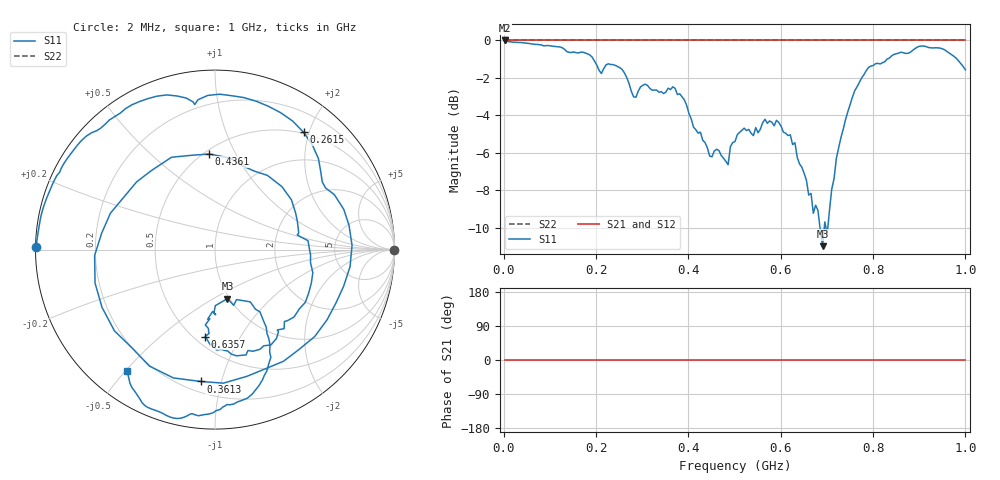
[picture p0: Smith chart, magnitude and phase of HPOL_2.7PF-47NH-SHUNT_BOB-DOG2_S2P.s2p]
!Agilent N9923A: A.07.32
!Date: Friday, 21 February 2020 06:23:23
!Model: N9923A
!Serial: MY52412229
!GPS Latitude:
!GPS Longitude:
!GPS TimeStamp: 0001-01-01 00:00:00Z
!GPS Seconds Since Last Read: 0
!CHECKSUM:1777628573
!Correction: S11(ON U)S21()S12()S22()
!S2P File: Measurements:S11,S21,S12,S22:
# Hz S DB R 50
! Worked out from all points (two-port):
!   201 points, 2 MHz to 1 GHz, reference 50 ohm
!   highest |S21| = 0.00 dB at 2 MHz (marker M1); lowest = 0.0 dB at 2 MHz (marker M2)
!   |S21| within 3 dB of the highest: start of sweep to end of sweep
!   lowest |S11| = -11.0 dB at 690.6 MHz (marker M3), VSWR 1.79, Z = 48.9 - j29.1 ohm
!   |S11| at or under -10 dB: 685.1 MHz to 694.4 MHz (9.383 MHz wide, 1.36 % of centre); 697.9 MHz to 702 MHz (4.145 MHz wide, 0.592 % of centre)
!   |S22| runs from 0.0 to 0.0 dB; largest |S21 - S12| = 0
!   S11 on the Smith chart (normalised r, x): 2 MHz: 0.00, +0.01; 261.5 MHz: 0.48, +1.91; 361.3 MHz: 0.27, -0.86; 436.1 MHz: 0.53, +0.79; 635.7 MHz: 0.57, -0.72; 1 GHz: 0.11, -0.50
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2000000  -0.03 179.3  0.00 0.0  0.00 0.0  0.00 0.0
9.681e7  -0.27 150.4  0.00 0.0  0.00 0.0  0.00 0.0
1.7166e8  -0.63 119.8  0.00 0.0  0.00 0.0  0.00 0.0
2.3154e8  -1.29 83.9  0.00 0.0  0.00 0.0  0.00 0.0
2.6148e8  -1.73 52.9  0.00 0.0  0.00 0.0  0.00 0.0
3.0639e8  -2.34 1.7  0.00 0.0  0.00 0.0  0.00 0.0
3.3633e8  -2.77 -49.9  0.00 0.0  0.00 0.0  0.00 0.0
3.6128e8  -2.63 -96.2  0.00 0.0  0.00 0.0  0.00 0.0
3.8124e8  -2.85 -141.1  0.00 0.0  0.00 0.0  0.00 0.0
3.9621e8  -3.46 -177.2  0.00 0.0  0.00 0.0  0.00 0.0
4.1617e8  -4.77 139.3  0.00 0.0  0.00 0.0  0.00 0.0
4.3613e8  -5.46 93.4  0.00 0.0  0.00 0.0  0.00 0.0
4.6607e8  -5.88 33.1  0.00 0.0  0.00 0.0  0.00 0.0
5.01e8  -5.40 -7.7  0.00 0.0  0.00 0.0  0.00 0.0
5.6587e8  -4.21 -59.6  0.00 0.0  0.00 0.0  0.00 0.0
6.3573e8  -6.24 -96.4  0.00 0.0  0.00 0.0  0.00 0.0
6.7066e8  -9.24 -92.3  0.00 0.0  0.00 0.0  0.00 0.0
6.9062e8  -11.00 -75.7  0.00 0.0  0.00 0.0  0.00 0.0
7.505e8  -3.41 -62.6  0.00 0.0  0.00 0.0  0.00 0.0
8.3533e8  -0.94 -89.6  0.00 0.0  0.00 0.0  0.00 0.0
9.1018e8  -0.30 -104.9  0.00 0.0  0.00 0.0  0.00 0.0
1e9  -1.57 -125.9  0.00 0.0  0.00 0.0  0.00 0.0
